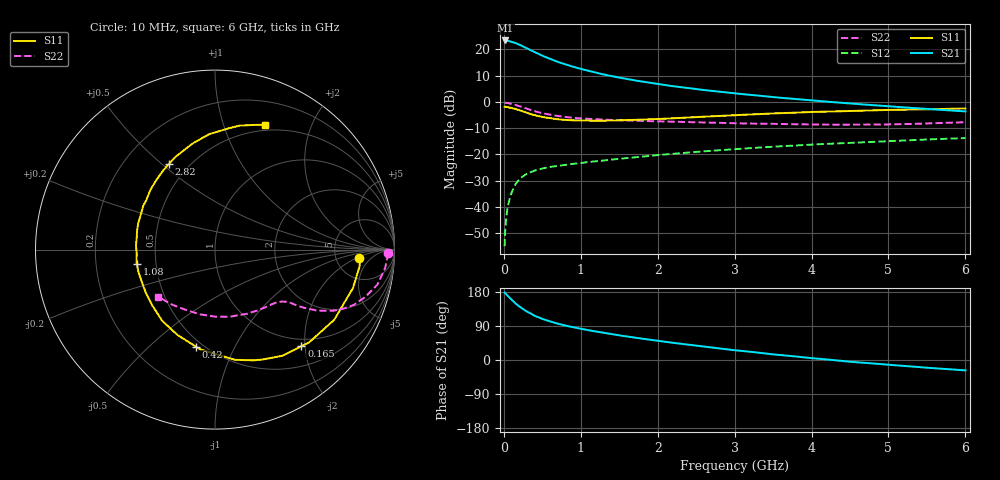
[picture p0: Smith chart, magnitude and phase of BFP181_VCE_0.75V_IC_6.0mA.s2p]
! Infineon Technologies  Discrete & RF Semiconductors
! BFP181
! VCE = 0.75V,  IC =  6.0 mA
! Common Emitter S-Parameters:  Jan 2016
# GHz  S  MA  R  50
!  f  S11  S21  S12  S22
! GHz  MAG  ANG  MAG  ANG  MAG  ANG  MAG  ANG
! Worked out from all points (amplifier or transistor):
!   210 points, 10 MHz to 6 GHz, reference 50 ohm
!   highest |S21| = 23.4 dB at 20 MHz (marker M1)
!   |S21| within 3 dB of that: start of sweep to 301.1 MHz
!   unconditionally stable (mu >= 1): 959.1 MHz to end of sweep
!   at 185 MHz: K = 0.27, MSG = 26.0 dB, |S12| = -30.0 dB
!   at 1.52 GHz: K = 1.28, MAG = 12.2 dB, |S12| = -21.6 dB
!   at 6 GHz: K = 1.24, MAG = 2.1 dB, |S12| = -13.8 dB
!   S11 on the Smith chart (normalised r, x): 10 MHz: 8.72, -2.24; 165 MHz: 0.86, -1.93; 420 MHz: 0.46, -0.71; 1.08 GHz: 0.39, -0.08; 2.82 GHz: 0.39, +0.53; 6 GHz: 0.44, +1.39
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0.01  0.8058 -3.2  14.71 178.1  0.0018 83.2  0.9643 -1.2
0.02  0.8112 -6.5  14.78 176.2  0.004 82.6  0.9621 -2.5
0.05  0.7981 -15.5  14.64 169.3  0.01 83.0  0.9529 -6.3
0.1  0.771 -30.4  13.92 159.3  0.0186 73.1  0.9254 -12.2
0.15  0.7367 -44.4  13.24 149.5  0.0269 66.5  0.88 -17.3
0.165  0.7219 -48.2  12.95 147.2  0.0289 64.8  0.8656 -18.5
0.2  0.7005 -57.6  12.35 141.3  0.0336 61.5  0.8338 -21.6
0.26  0.6528 -70.9  11.15 132.8  0.0396 55.6  0.7777 -25.3
0.3  0.6241 -79.7  10.48 127.8  0.0431 52.8  0.742 -27.3
0.42  0.5507 -101.2  8.602 115.2  0.0502 46.3  0.6544 -31.1
0.5  0.5199 -113.6  7.567 108.5  0.054 43.2  0.6105 -32.6
0.6  0.494 -126.6  6.617 101.7  0.0579 41.2  0.5707 -33.8
0.7  0.4683 -138.0  5.771 95.9  0.0604 39.9  0.5398 -34.6
1.02  0.4437 -165.0  4.175 81.7  0.0693 38.5  0.484 -36.8
1.08  0.443 -169.4  3.971 79.3  0.0714 38.4  0.4778 -37.2
1.5  0.4467 166.5  2.903 64.9  0.0825 38.4  0.4483 -41.4
2.02  0.4736 143.4  2.171 50.2  0.098 37.4  0.4275 -48.6
2.82  0.5417 118.3  1.556 30.1  0.121 33.9  0.4007 -63.0
3.1  0.5681 110.8  1.41 23.9  0.129 32.4  0.3898 -68.7
4.1  0.6484 91.4  1.041 3.2  0.1568 25.8  0.3714 -92.5
5.1  0.7075 77.8  0.807 -14.1  0.1816 19.1  0.3751 -118.5
6  0.7499 68.1  0.66 -27.5  0.2052 12.2  0.4111 -140.4
